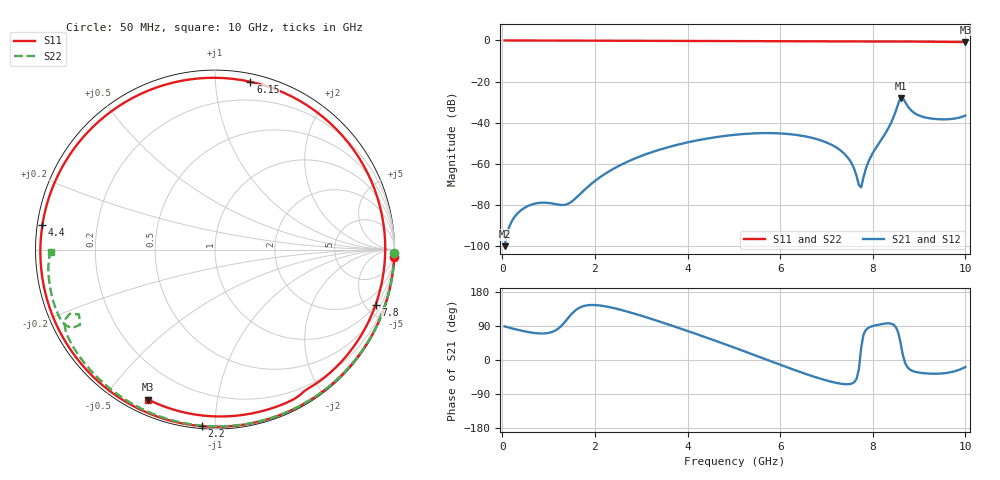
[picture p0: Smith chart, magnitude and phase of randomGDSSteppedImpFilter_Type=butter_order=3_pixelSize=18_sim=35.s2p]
! freq	dB(S11)	phase(S11)	dB(S12)	phase(S12)
!  dB(S21)	phase(S21)	dB(S22)	phase(S22)
!S-par simulation data
#  GHz  S  DB  R 50
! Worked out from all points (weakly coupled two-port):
!   200 points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, 50 MHz to 10 GHz, reference 50 ohm
!   highest |S21| = -27.96 dB at 8.6 GHz (marker M1); lowest = -100.0 dB at 50 MHz (marker M2)
!   lowest |S11| = -0.8 dB at 10 GHz (marker M3), VSWR 22.41, Z = 3.17 - j32.4 ohm
!   |S11| at or under -10 dB: nowhere
!   |S22| runs from -1.5 to 0.0 dB; largest |S21 - S12| = 0
!   S11 on the Smith chart (normalised r, x): 50 MHz: 0, -51; 2.2 GHz: 0.01, -0.93; 4.4 GHz: 0.01, +0.07; 6.15 GHz: 0.06, +1.23; 7.8 GHz: 1.00, -5.84; 10 GHz: 0.06, -0.65
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0.05  -0.00 -2.2  -99.96 88.7  -99.96 88.7  -0.00 -1.0
0.65  -0.04 -28.6  -79.62 71.9  -79.62 71.9  -0.02 -13.2
1.35  -0.07 -58.7  -79.88 100.1  -79.88 100.1  -0.03 -27.3
1.75  -0.10 -75.6  -73.13 142.0  -73.13 142.0  -0.04 -35.2
2.2  -0.12 -94.3  -65.09 142.2  -65.09 142.2  -0.06 -44.0
3.4  -0.18 -144.0  -53.06 101.4  -53.06 101.4  -0.09 -66.5
4.4  -0.25 171.9  -47.76 59.6  -47.76 59.6  -0.12 -84.4
5.05  -0.31 140.0  -45.78 31.0  -45.78 31.0  -0.15 -95.6
5.65  -0.36 107.4  -45.02 3.6  -45.02 3.6  -0.18 -105.7
6.15  -0.39 78.1  -45.41 -19.2  -45.41 -19.2  -0.20 -114.0
6.7  -0.42 44.7  -47.39 -42.8  -47.39 -42.8  -0.24 -123.0
7.4  -0.46 3.2  -55.37 -63.8  -55.37 -63.8  -0.30 -134.4
7.55  -0.46 -5.3  -60.01 -62.0  -60.01 -62.0  -0.31 -136.9
7.7  -0.47 -13.5  -70.27 -24.6  -70.27 -24.6  -0.33 -139.3
7.75  -0.48 -16.2  -71.39 32.7  -71.39 32.7  -0.33 -140.2
7.8  -0.48 -18.9  -66.48 67.2  -66.48 67.2  -0.34 -141.0
7.95  -0.49 -26.8  -56.83 87.6  -56.83 87.6  -0.36 -143.6
8.35  -0.54 -46.7  -42.05 96.7  -42.05 96.7  -0.46 -151.2
8.6  -0.61 -57.7  -27.96 45.3  -27.96 45.3  -1.52 -154.5
8.85  -0.54 -69.1  -34.41 -28.4  -34.41 -28.4  -0.51 -155.4
9.1  -0.59 -79.7  -37.23 -34.8  -37.23 -34.8  -0.48 -160.7
10  -0.78 -114.0  -36.48 -18.4  -36.48 -18.4  -0.76 -179.1
